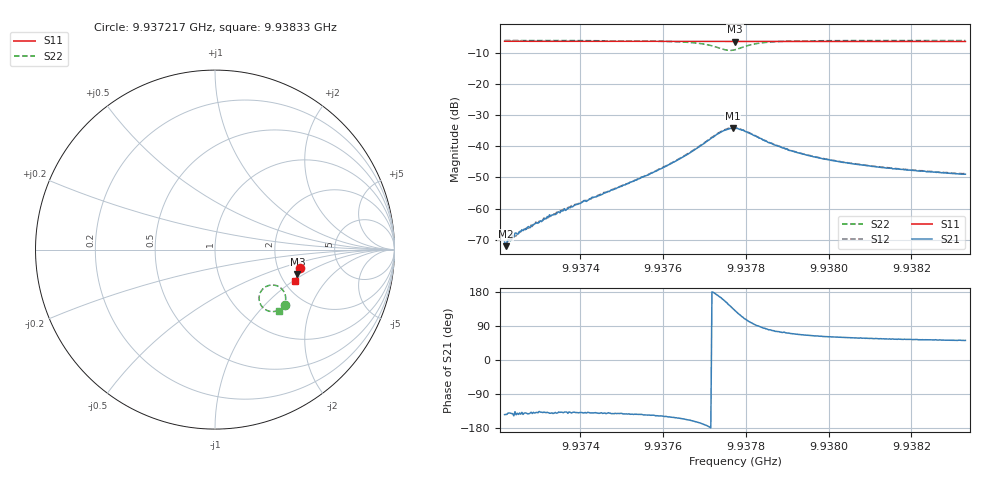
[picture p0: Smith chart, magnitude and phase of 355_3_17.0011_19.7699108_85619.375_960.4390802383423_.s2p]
#  HZ  S  RI  R  50.00
! Rohde & Schwarz Vector Network Analyzer
! Rohde-Schwarz,ZNB20-2Port,1311601062101988,3.16
! Created: UTC 3/20/2024, 11:08:00 PM
! freq[Hz]  re:S11  im:S11  re:S21  im:S21  re:S12  im:S12  re:S22  im:S22
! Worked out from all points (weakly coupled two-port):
!   401 points, 9.937217 GHz to 9.93833 GHz, reference 50 ohm
!   highest |S21| = -34.14 dB at 9.937768 GHz (marker M1); lowest = -72.0 dB at 9.93722 GHz (marker M2)
!   lowest |S11| = -6.4 dB at 9.937774 GHz (marker M3), VSWR 2.84, Z = 124 - j44.2 ohm
!   |S11| at or under -10 dB: nowhere
!   |S22| runs from -9.2 to -6.0 dB; largest |S21 - S12| = 0.00085
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9.9372171e9  0.4729 -0.1026  -0.000236 -0.00017  -0.000207 -0.000172  0.3892 -0.3113
9.9372199e9  0.4727 -0.1029  -0.000201 -0.000148  -0.000226 -0.000156  0.3891 -0.3114
9.9372254e9  0.4726 -0.1032  -0.000243 -0.000204  -0.000266 -0.000159  0.3885 -0.3118
9.937231e9  0.4725 -0.1037  -0.000234 -0.000195  -0.000276 -0.000194  0.3882 -0.3121
9.9372421e9  0.4723 -0.1042  -0.000292 -0.000277  -0.000295 -0.000208  0.3875 -0.313
9.9372644e9  0.4719 -0.106  -0.000361 -0.000302  -0.000341 -0.000294  0.3859 -0.3146
9.9373256e9  0.4707 -0.11  -0.000613 -0.000507  -0.000582 -0.000458  0.3811 -0.3187
9.9373534e9  0.4701 -0.1119  -0.000674 -0.000616  -0.000707 -0.000593  0.3788 -0.321
9.9374035e9  0.4691 -0.1153  -0.000942 -0.000832  -0.00099 -0.000815  0.3739 -0.3249
9.93759e9  0.4649 -0.1277  -0.00359 -0.00226  -0.00366 -0.0023  0.3428 -0.342
9.9376428e9  0.4633 -0.1312  -0.00578 -0.00279  -0.00595 -0.00274  0.3219 -0.3452
9.9377013e9  0.4614 -0.1353  -0.0113 -0.00174  -0.0115 -0.00158  0.2772 -0.3318
9.937743e9  0.4596 -0.137  -0.0165 0.00567  -0.0166 0.00619  0.2453 -0.2679
9.9377681e9  0.4591 -0.1379  -0.0141 0.0136  -0.0139 0.014  0.276 -0.2114
9.9377736e9  0.459 -0.1379  -0.0125 0.0147  -0.0124 0.0154  0.2889 -0.2037
9.9377931e9  0.4593 -0.1387  -0.00696 0.0167  -0.00647 0.0171  0.3356 -0.1989
9.9378321e9  0.4592 -0.1415  0.000258 0.0135  0.000657 0.0138  0.3844 -0.2354
9.9378989e9  0.458 -0.1464  0.0029 0.00869  0.00305 0.00848  0.3932 -0.2818
9.9379601e9  0.4565 -0.1505  0.00301 0.0062  0.00316 0.00622  0.388 -0.3024
9.9380491e9  0.4545 -0.1566  0.00278 0.00458  0.00287 0.00457  0.3794 -0.3187
9.9381465e9  0.4518 -0.1628  0.00249 0.00368  0.00264 0.00367  0.3712 -0.33
9.9383302e9  0.4466 -0.1746  0.00221 0.0028  0.0023 0.00282  0.3581 -0.3445
